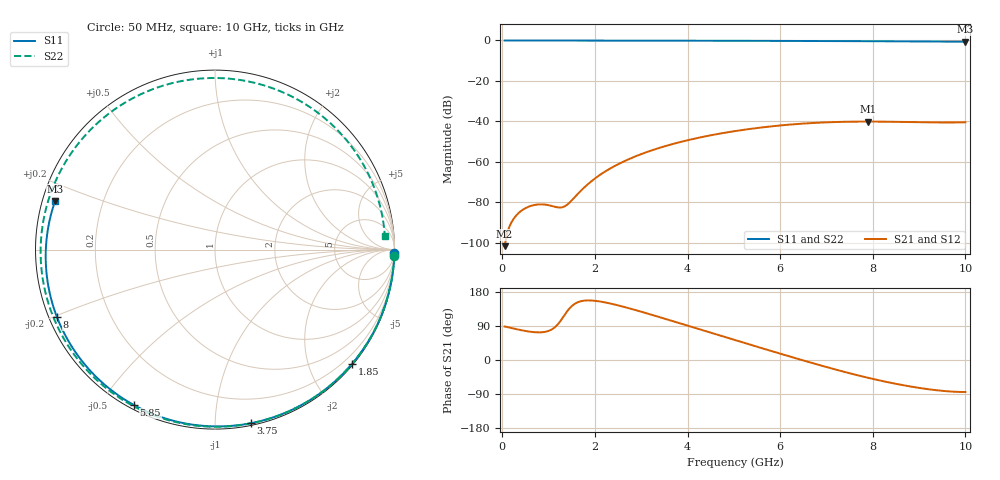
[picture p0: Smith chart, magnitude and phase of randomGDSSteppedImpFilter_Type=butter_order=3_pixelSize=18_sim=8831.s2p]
! freq	dB(S11)	phase(S11)	dB(S12)	phase(S12)
!  dB(S21)	phase(S21)	dB(S22)	phase(S22)
!S-par simulation data
#  GHz  S  DB  R 50
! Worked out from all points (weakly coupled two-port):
!   200 points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, 50 MHz to 10 GHz, reference 50 ohm
!   highest |S21| = -40.09 dB at 7.9 GHz (marker M1); lowest = -101.6 dB at 50 MHz (marker M2)
!   lowest |S11| = -0.6 dB at 10 GHz (marker M3), VSWR 28.08, Z = 1.82 + j7.4 ohm
!   |S11| at or under -10 dB: nowhere
!   |S22| runs from -0.5 to 0.0 dB; largest |S21 - S12| = 0
!   S11 on the Smith chart (normalised r, x): 50 MHz: open; 1.85 GHz: 0.03, -2.76; 3.75 GHz: 0.02, -1.23; 5.85 GHz: 0.02, -0.61; 8 GHz: 0.02, -0.20; 10 GHz: 0.04, +0.15
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0.05  -0.00 -1.1  -101.64 88.5  -101.64 88.5  -0.00 -1.9
0.7  -0.02 -15.3  -81.26 73.3  -81.26 73.3  -0.03 -26.4
1.45  -0.04 -31.4  -80.17 136.0  -80.17 136.0  -0.07 -54.0
1.75  -0.05 -37.7  -73.06 156.3  -73.06 156.3  -0.08 -64.8
1.85  -0.05 -39.8  -70.98 157.2  -70.98 157.2  -0.09 -68.3
2.15  -0.06 -46.1  -65.79 153.6  -65.79 153.6  -0.10 -78.8
2.5  -0.07 -53.3  -61.16 144.2  -61.16 144.2  -0.11 -90.9
2.95  -0.08 -62.4  -56.60 129.2  -56.60 129.2  -0.13 -106.2
3.4  -0.10 -71.4  -53.03 113.0  -53.03 113.0  -0.15 -121.2
3.75  -0.11 -78.2  -50.74 100.0  -50.74 100.0  -0.17 -132.8
4.4  -0.13 -90.7  -47.31 75.8  -47.31 75.8  -0.20 -154.2
5.05  -0.16 -102.9  -44.69 51.6  -44.69 51.6  -0.24 -175.8
5.85  -0.20 -117.6  -42.34 22.2  -42.34 22.2  -0.29 156.9
6.25  -0.23 -124.8  -41.49 7.7  -41.49 7.7  -0.32 142.8
6.7  -0.26 -133.0  -40.79 -8.2  -40.79 -8.2  -0.35 126.5
7.3  -0.31 -143.9  -40.24 -28.6  -40.24 -28.6  -0.38 104.1
7.9  -0.37 -155.0  -40.09 -47.1  -40.09 -47.1  -0.40 81.3
8  -0.38 -156.9  -40.09 -49.9  -40.09 -49.9  -0.40 77.5
8.35  -0.42 -163.5  -40.16 -59.2  -40.16 -59.2  -0.41 64.1
9.2  -0.51 179.9  -40.47 -77.1  -40.47 -77.1  -0.42 32.4
9.6  -0.57 171.7  -40.54 -82.4  -40.54 -82.4  -0.43 18.2
10  -0.62 163.1  -40.42 -84.4  -40.42 -84.4  -0.45 4.7
